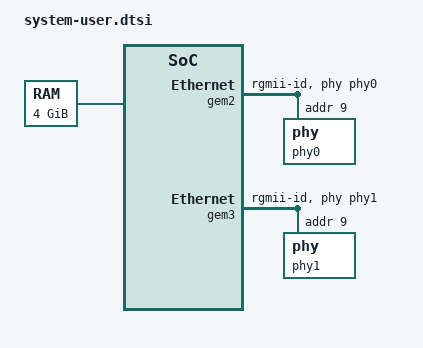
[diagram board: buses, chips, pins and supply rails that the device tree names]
/include/ "system-conf.dtsi"
/ {
    memory {
        reg = <0x0 0x0 0x0 0x7ff00000 0x8 0x0 0x0 0x80000000>;
    };
};

&axi_fifo_mm_s_o {
	xlnx,tx-max-pkt-size = <257>; 
	xlnx,rx-min-pkt-size = <255>;
};

&nand0{
	status = "disabled";
};


&gem2 {
	status = "okay";
	phy-handle = <&phy0>;
	phy-mode = "rgmii-id";
    xlnx,ptp-enet-clock = <0x0>;
	phy-reset-gpio = <&gpio 10 1>;
	phy-reset-duration = <2>;
	phy-reset-active-low = <1>;
	local-mac-address = [00 0a 35 00 00 00];
	phy0: phy@9 {
			reg = <0x9>;
			ti,rx-internal-delay = <0x8>;
			ti,tx-internal-delay = <0xa>;
			ti,fifo-depth = <0x1>;
		};
};
&gem3 {
	status = "okay";
	phy-handle = <&phy1>;
	phy-mode = "rgmii-id";
	phy-reset-gpio = <&gpio 11 1>;
	phy-reset-duration = <2>;
	phy-reset-active-low = <1>;
	local-mac-address = [00 0a 35 00 00 01];
	phy1: phy@9 {
		reg = <0x9>;
		ti,rx-internal-delay = <0x8>;
		ti,tx-internal-delay = <0xa>;
		ti,fifo-depth = <0x1>;
		ti,rxctrl-strap-worka;
	};
};
